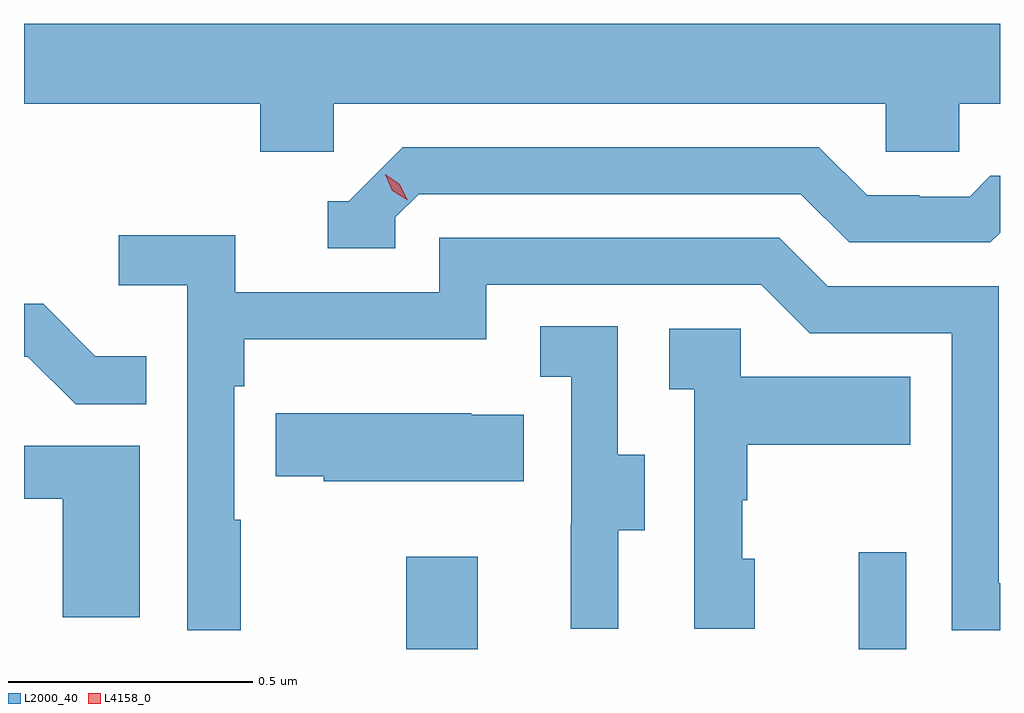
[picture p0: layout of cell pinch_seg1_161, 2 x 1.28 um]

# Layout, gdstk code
import gdstk
lib = gdstk.Library(unit=1e-6, precision=1e-09)
def R(c, l, rs):  # rectangles x0, y0, x1, y1
    for r in rs: c.add(gdstk.rectangle(r[:2], r[2:], *l))
def P(c, l, *ps):  # polygons
    for p in ps: c.add(gdstk.Polygon(p, *l))
L2000_40 = (2000, 40)
L4158_0 = (4158, 0)

pinch_seg1_161 = lib.new_cell('pinch_seg1_161')
R(pinch_seg1_161, L2000_40, [(1105.33,555.942,1105.477,556.132), (1106.258,555.942,1106.355,556.141)])
P(pinch_seg1_161, L2000_40, [(1104.547,557.06),(1105.031,557.06),(1105.031,556.962),(1105.182,556.962),(1105.182,557.06),(1106.313,557.06),(1106.313,556.962),(1106.463,556.962),(1106.463,557.06),(1106.547,557.06),(1106.547,557.224),(1104.547,557.224)],
  [(1105.308,556.827),(1105.356,556.875),(1106.139,556.875),(1106.238,556.776),(1106.527,556.776),(1106.547,556.796),(1106.547,556.912),(1106.527,556.912),(1106.485,556.869),(1106.382,556.869),(1106.382,556.872),(1106.275,556.872),(1106.176,556.971),(1105.323,556.971),(1105.212,556.86),(1105.169,556.86),(1105.169,556.764),(1105.308,556.764)],
  [(1104.991,556.208),(1104.978,556.208),(1104.978,556.481),(1104.998,556.481),(1104.998,556.577),(1105.494,556.577),(1105.494,556.689),(1106.058,556.689),(1106.157,556.59),(1106.448,556.59),(1106.448,555.981),(1106.547,555.981),(1106.547,556.077),(1106.544,556.077),(1106.544,556.686),(1106.194,556.686),(1106.095,556.785),(1105.398,556.785),(1105.398,556.674),(1104.98,556.674),(1104.98,556.79),(1104.741,556.79),(1104.741,556.688),(1104.882,556.688),(1104.882,555.981),(1104.991,555.981)],
  [(1104.797,556.543),(1104.693,556.543),(1104.586,556.65),(1104.547,556.65),(1104.547,556.542),(1104.555,556.542),(1104.653,556.444),(1104.797,556.444)],
  [(1105.765,556.186),(1105.819,556.186),(1105.819,556.341),(1105.764,556.341),(1105.764,556.604),(1105.605,556.604),(1105.605,556.501),(1105.668,556.501),(1105.668,556.197),(1105.667,556.197),(1105.667,555.984),(1105.765,555.984)],
  [(1106.044,556.128),(1106.019,556.128),(1106.019,556.247),(1106.029,556.247),(1106.029,556.361),(1106.363,556.361),(1106.363,556.501),(1106.016,556.501),(1106.016,556.599),(1105.869,556.599),(1105.869,556.475),(1105.92,556.475),(1105.92,555.984),(1106.044,555.984)],
  [(1105.571,556.423),(1105.463,556.423),(1105.463,556.426),(1105.063,556.426),(1105.063,556.297),(1105.161,556.297),(1105.161,556.286),(1105.571,556.286)],
  [(1104.784,556.359),(1104.547,556.359),(1104.547,556.251),(1104.626,556.251),(1104.626,556.008),(1104.784,556.008)])
P(pinch_seg1_161, L4158_0, [(1105.333,556.862),(1105.302,556.882),(1105.287,556.914),(1105.287,556.915),(1105.287,556.915),(1105.317,556.895),(1105.333,556.862),(1105.333,556.862)])

lib.write_gds('pinch_seg1_161.gds')
